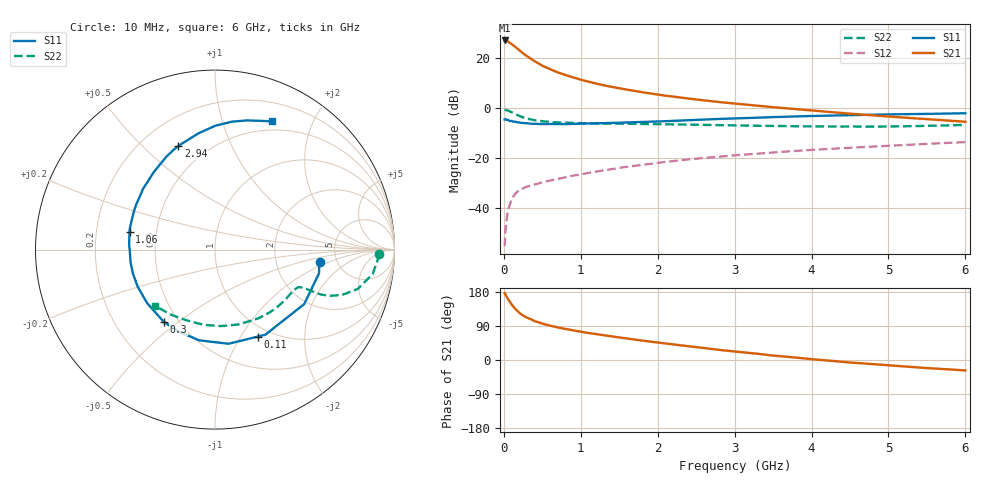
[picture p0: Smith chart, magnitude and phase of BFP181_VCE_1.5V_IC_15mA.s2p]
! Infineon Technologies  Discrete & RF Semiconductors
! BFP181
! VCE = 1.5 V,  IC =  15 mA
! Common Emitter S-Parameters:  Jan 2016
# GHz  S  MA  R  50
!  f  S11  S21  S12  S22
! GHz  MAG  ANG  MAG  ANG  MAG  ANG  MAG  ANG
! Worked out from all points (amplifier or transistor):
!   210 points, 10 MHz to 6 GHz, reference 50 ohm
!   highest |S21| = 27.0 dB at 10 MHz (marker M1)
!   |S21| within 3 dB of that: start of sweep to 165.7 MHz
!   unconditionally stable (mu >= 1): start of sweep to 15.68 MHz; 418.5 MHz to end of sweep
!   at 185 MHz: K = 0.56, MSG = 28.4 dB, |S12| = -33.4 dB
!   at 1.52 GHz: K = 1.67, MAG = 11.0 dB, |S12| = -23.9 dB
!   at 6 GHz: K = 1.32, MAG = 0.7 dB, |S12| = -13.7 dB
!   S11 on the Smith chart (normalised r, x): 10 MHz: 3.68, -0.75; 110 MHz: 0.87, -1.19; 300 MHz: 0.42, -0.44; 1.06 GHz: 0.35, +0.09; 2.94 GHz: 0.35, +0.65; 6 GHz: 0.40, +1.46
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0.01  0.5868 -6.5  22.45 176.3  0.0017 77.6  0.9144 -1.5
0.02  0.5942 -13.0  22.41 173.0  0.0033 81.1  0.9089 -3.4
0.05  0.5824 -31.4  21.66 162.1  0.008 79.3  0.8894 -8.7
0.1  0.5509 -59.4  19.15 146.5  0.0146 65.5  0.8255 -15.4
0.11  0.5402 -63.7  18.59 144.3  0.0155 63.5  0.8105 -16.2
0.15  0.53 -81.8  16.65 134.2  0.0193 57.5  0.7523 -19.6
0.2  0.5132 -99.9  14.37 124.6  0.0225 52.9  0.6927 -21.8
0.26  0.4968 -116.4  12.05 116.1  0.0249 49.3  0.6381 -23.0
0.3  0.4933 -125.4  10.87 111.7  0.0265 48.4  0.6108 -23.2
0.4  0.4817 -141.7  8.618 102.5  0.0291 47.4  0.5659 -23.3
0.5  0.4776 -154.3  7.016 95.8  0.0323 46.8  0.54 -23.4
0.6  0.4765 -163.8  5.971 90.4  0.0351 48.3  0.523 -23.7
0.7  0.4756 -171.4  5.135 85.9  0.0376 49.1  0.5119 -24.1
1.02  0.4841 170.1  3.6 73.9  0.0471 51.8  0.4945 -27.0
1.06  0.4863 168.2  3.474 72.6  0.0486 52.0  0.493 -27.5
1.5  0.5054 150.7  2.47 59.4  0.0631 53.2  0.4826 -33.5
2.02  0.5364 133.2  1.825 45.5  0.0801 51.7  0.4725 -42.2
2.94  0.6109 109.6  1.249 23.7  0.1102 46.4  0.4485 -60.1
3.1  0.6217 106.2  1.183 20.5  0.1153 45.4  0.4435 -63.5
4.1  0.6946 88.4  0.865 0.5  0.1471 37.7  0.4251 -87.8
5.1  0.7444 75.1  0.656 -15.4  0.1775 30.0  0.4255 -114.1
6  0.7813 66.0  0.528 -27.6  0.2065 21.9  0.4576 -136.9
